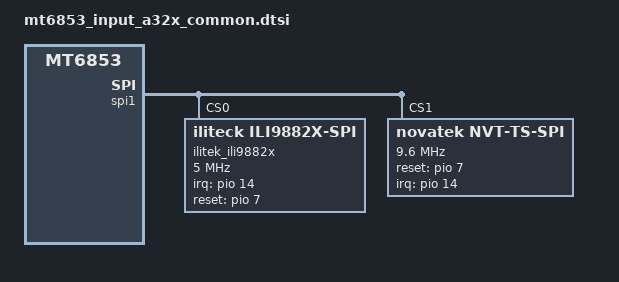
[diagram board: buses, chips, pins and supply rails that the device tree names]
/*
 * SAMSUNG Input Device Tree Source
 *
 * Copyright (c) Samsung Electronics Co., Ltd.
 *		http://www.samsung.com
 *
 * This program is free software; you can redistribute it and/or modify
 * it under the terms of the GNU General Public License version 2 as
 * published by the Free Software Foundation.
 */
/* TOUCH start */
/* touch gpio start */
&pio {
/*ilitek start */
	tsp_on_miso: tsp-on-miso {
		pins_cmd_dat{
			pinmux = <PINMUX_GPIO23__FUNC_SPI1_MI>;
			bias-disable;
		};
	};
	tsp_on_cs: tsp-on-cs {
		pins_cmd_dat{
			pinmux = <PINMUX_GPIO21__FUNC_SPI1_CSB>;
			bias-disable;
		};
	};
	tsp_on_mosi: tsp-on-mosi {
		pins_cmd_dat{
			pinmux = <PINMUX_GPIO22__FUNC_SPI1_MO>;
			bias-disable;
		};
	};
	tsp_on_clk: tsp-on-clk {
		pins_cmd_dat{
			pinmux = <PINMUX_GPIO20__FUNC_SPI1_CLK>;
			bias-disable;
		};
	};

	tsp_off_miso: tsp-off-miso {
		pins_cmd_dat{
			pinmux = <PINMUX_GPIO23__FUNC_GPIO23>;
			slew-rate = <0>;
			bias-pull-down;
			input-enable;
		};
	};
	tsp_off_cs: tsp-off-cs {
		pins_cmd_dat{
			pinmux = <PINMUX_GPIO21__FUNC_GPIO21>;
			slew-rate = <0>;
			bias-pull-down;
			input-enable;
		};
	};
	tsp_off_mosi: tsp-off-mosi {
		pins_cmd_dat{
			pinmux = <PINMUX_GPIO22__FUNC_GPIO22>;
			slew-rate = <0>;
			bias-pull-down;
			input-enable;
		};
	};
	tsp_off_clk: tsp-off-clk {
		pins_cmd_dat{
			pinmux = <PINMUX_GPIO20__FUNC_GPIO20>;
			slew-rate = <0>;
			bias-pull-down;
			input-enable;
		};
	};

	intr_on: intr-on {
               pins_cmd_dat {
                       pinmux = <PINMUX_GPIO14__FUNC_GPIO14>;
                       slew-rate = <0>;
                       bias-disable;
               };
	};

	intr_off: intr-off {
		pins_cmd_dat {
                       pinmux = <PINMUX_GPIO14__FUNC_GPIO14>;
                       slew-rate = <0>;
                       input-enable;
                       bias-pull-down;
               };
	};

	reset_on: reset-on {
		pins_cmd_dat {
			pinmux = <PINMUX_GPIO7__FUNC_GPIO7>;
			slew-rate = <0>;
			bias-disable;
			output-high;
		};
	};
	reset_off: reset-off {
		pins_cmd_dat {
			pinmux = <PINMUX_GPIO7__FUNC_GPIO7>;
			slew-rate = <0>;
			input-enable;
			bias-pull-down;
		};
	};
/*ilitek end */
};
/* touch gpio end */

&spi1 {
	status = "okay";
	#address-cells = <1>;
	#size-cells = <0>;
	num-cs = <2>;

	ilitek_ili9882x@0 {
		status = "okay";
		compatible = "iliteck,ili9882x-spi";
		reg = <0>;
		spi-max-frequency = <5000000>;
		pinctrl-names = "default","pins_on_state", "pins_off_state";
		pinctrl-0 = <&intr_on &reset_on &tsp_on_miso &tsp_on_cs &tsp_on_mosi &tsp_on_clk>;
		pinctrl-1 = <&intr_on &reset_on &tsp_on_miso &tsp_on_cs &tsp_on_mosi &tsp_on_clk>;
		pinctrl-2 = <&intr_off &reset_off &tsp_off_miso &tsp_off_cs &tsp_off_mosi &tsp_off_clk>;
		iliteck,irq-gpio = <&pio 14 0x2008>; /* IRQF_ONESHOT | IRQF_TRIGGER_LOW */
		iliteck,reset-gpio = <&pio 7 0x0>;
		/*iliteck,cs-gpio = <&pio 21 0>;*/
		/*iliteck,lcdid1-gpio = <&pio 170 0x0>;*/
		/*iliteck,lcdid2-gpio = <&pio 171 0x0>;*/
		/*iliteck,lcdid = <0>;*/
		iliteck,lcdtype = <0x7250>;
		iliteck,lcd_rst = "gpio_lcd_rst";
		iliteck,lcd_bl_en = "gpio_lcd_bl_en";
		iliteck,lcd_vddi = "vcamio";
		iliteck,irq-on-state = <0>;
		iliteck,spi-mode = <0>;
		iliteck,byte-delay-us = <0>;
		iliteck,block-delay-us = <0>;
		iliteck,ubl-max-freq = <5000000>;
		iliteck,ubl-byte-delay-us = <20>;
		iliteck,area-size = <48 81 30>;
		iliteck,enable_settings_aot;
		iliteck,enable_sysinput_enabled;
		iliteck,support_ear_detect_mode;
		iliteck,prox_lp_scan_enabled;
		iliteck,support_spay_gesture_mode;
		iliteck,fw_name = "tsp_ilitek/ili9881x_a32x.hex";
	};

	/* Novatek device tree node */
	novatek@1 {
		status = "okay";
		compatible = "novatek,NVT-ts-spi";
		reg = <1>; //Same as CS ID
		spi-max-frequency = <9600000>;
		novatek,reset-gpio = <&pio 7 0x00>;
		novatek,irq-gpio = <&pio 14 0x2002>;
		/*novatek,cs-gpio = <&pio 21 0>;*/
		pinctrl-names = "on_state", "off_state";
		pinctrl-0 = <&intr_on &reset_on &tsp_on_miso &tsp_on_cs &tsp_on_mosi &tsp_on_clk>;
		pinctrl-1 = <&intr_off &reset_off &tsp_off_miso &tsp_off_cs &tsp_off_mosi &tsp_off_clk>;
		novatek,resolution = <720 1600>;
		novatek,enable_settings_aot;
		novatek,support_ear_detect_mode;
		novatek,support_spay;
		novatek,prox_lp_scan_enabled;
		novatek,enable_sysinput_enabled;
		novatek,lcdtype = <0x0aa240>;
		novatek,fw_name = "tsp_novatek/nt36525_a32_csot.bin";
		novatek,fw_name_mp = "tsp_novatek/nt36525_a32_mp_csot.bin";
		novatek,regulator_lcd_vdd = "vcamio";
		novatek,regulator_lcd_reset = "gpio_lcd_rst";
		novatek,regulator_lcd_bl = "gpio_lcd_bl_en";

		/* 525 */
		//novatek,swrst-n8-addr = <0x01F01A>;

		/* 672A, 525B, 675, 526, 672C */
		novatek,swrst-n8-addr = <0x03F0FE>;
		novatek,spi-rd-fast-addr = <0x03F310>;

		/* MP */
		novatek,mp-support-dt;

		/* nt36525_a32_csot */
		novatek-mp-criteria-7219@0 {
			#address-cells = <1>;
			#size-cells = <0>;
			compatible = "novatek-mp-criteria-7219";

			/* sec cmd test config */
			open_test_spec = <(-511) 5120>;
			short_test_spec = <10000 14008>;
			diff_test_frame = <50>;
			fdm_x_num = <2>;
		};
		/* nt36525_a32_ltps */
		novatek-mp-criteria-7226@1 {
			#address-cells = <1>;
			#size-cells = <0>;
			compatible = "novatek-mp-criteria-7226";

			/* sec cmd test config */
			open_test_spec = <(-511) 5120>;
			short_test_spec = <10000 14008>;
			diff_test_frame = <50>;
			/* sec cmd fdm test config */
			fdm_x_num = <2>;
			fdm_diff_test_frame = <50>;
		};
		/* nt36525_a32_sharp */
		novatek-mp-criteria-721E@2 {
			#address-cells = <1>;
			#size-cells = <0>;
			compatible = "novatek-mp-criteria-721E";

			/* sec cmd test config */
			open_test_spec = <(-511) 5120>;
			short_test_spec = <10000 14008>;
			diff_test_frame = <50>;
			/* sec cmd fdm test config */
			fdm_x_num = <2>;
			fdm_diff_test_frame = <50>;
		};
	};
};
/* TOUCH end */
